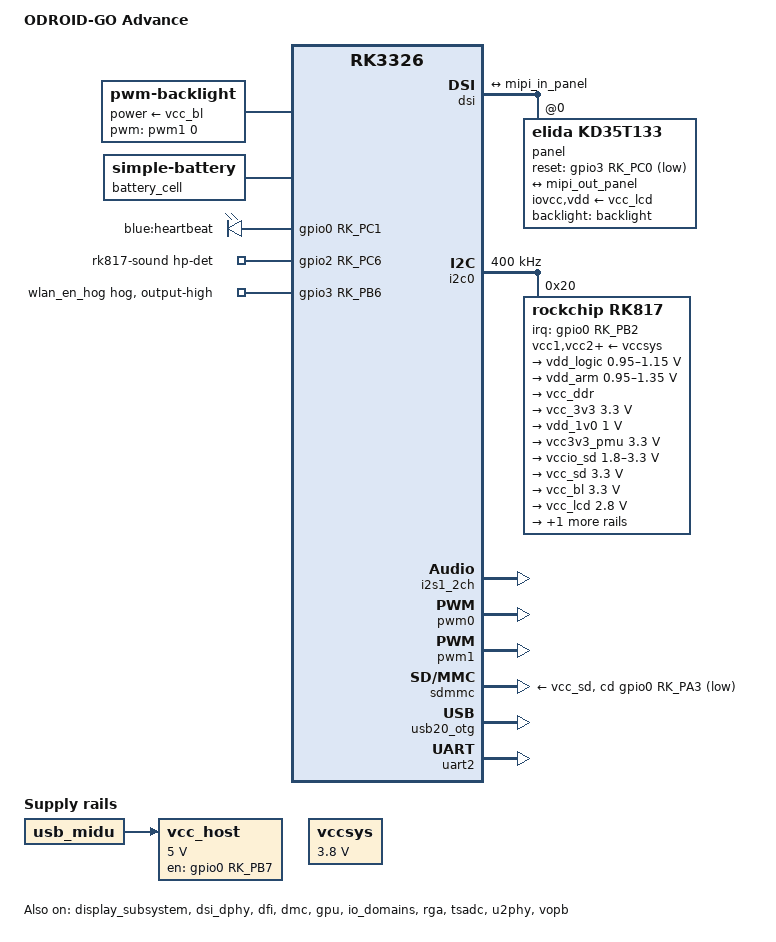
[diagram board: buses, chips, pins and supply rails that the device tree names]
// SPDX-License-Identifier: (GPL-2.0+ OR MIT)
/*
 * Copyright (c) 2019 Hardkernel Co., Ltd
 * Copyright (c) 2020 Theobroma Systems Design und Consulting GmbH
 */

/dts-v1/;
#include <dt-bindings/gpio/gpio.h>
#include <dt-bindings/input/input.h>
#include <dt-bindings/pinctrl/rockchip.h>
#include "rk3326.dtsi"

/ {
	model = "ODROID-GO Advance";
	compatible = "hardkernel,rk3326-odroid-go2", "rockchip,rk3326";

	aliases {
		mmc0 = &sdmmc;
	};

	chosen {
		stdout-path = "serial2:115200n8";
	};

	backlight: backlight {
		compatible = "pwm-backlight";
		power-supply = <&vcc_bl>;
		pwms = <&pwm1 0 25000 0>;
	};

	battery_cell: battery-cell {
		compatible = "simple-battery";
		charge-full-design-microamp-hours = <3380000>;
		charge-term-current-microamp = <150000>;
		constant-charge-current-max-microamp = <2000000>;
		constant-charge-voltage-max-microvolt = <4200000>;
		factory-internal-resistance-micro-ohms = <100000>;
		voltage-max-design-microvolt = <4050000>;
		voltage-min-design-microvolt = <3165000>;

		ocv-capacity-celsius = <20>;
		ocv-capacity-table-0 =	<4050000 100>, <4030000 95>, <3990000 90>, <3950000 85>,
					<3910000 80>, <3870000 75>, <3830000 70>, <3790000 65>,
					<3750000 60>, <3710000 55>, <3670000 50>, <3630000 45>,
					<3580000 40>, <3530000 35>, <3480000 30>, <3430000 25>,
					<3380000 20>, <3330000 15>, <3280000 10>, <3220000 5>,
					<3165000 0>;
	};

	leds: gpio-leds {
		compatible = "gpio-leds";
		pinctrl-names = "default";
		pinctrl-0 = <&blue_led_pin>;

		blue_led: led-0 {
			label = "blue:heartbeat";
			gpios = <&gpio0 RK_PC1 GPIO_ACTIVE_HIGH>;
			linux,default-trigger = "heartbeat";
		};
	};

	rk817-sound {
		compatible = "simple-audio-card";
		simple-audio-card,name = "Analog";
		simple-audio-card,format = "i2s";
		simple-audio-card,hp-det-gpio = <&gpio2 RK_PC6 GPIO_ACTIVE_HIGH>;
		simple-audio-card,mclk-fs = <256>;
		simple-audio-card,widgets =
			"Microphone", "Mic Jack",
			"Headphone", "Headphones",
			"Speaker", "Speaker";
		simple-audio-card,routing =
			"MICL", "Mic Jack",
			"Headphones", "HPOL",
			"Headphones", "HPOR",
			"Speaker", "SPKO";

		simple-audio-card,codec {
			sound-dai = <&rk817>;
		};

		simple-audio-card,cpu {
			sound-dai = <&i2s1_2ch>;
		};
	};

	vccsys: vccsys {
		compatible = "regulator-fixed";
		regulator-name = "vcc3v8_sys";
		regulator-always-on;
		regulator-min-microvolt = <3800000>;
		regulator-max-microvolt = <3800000>;
	};

	vcc_host: vcc_host {
		compatible = "regulator-fixed";
		regulator-name = "vcc_host";
		regulator-min-microvolt = <5000000>;
		regulator-max-microvolt = <5000000>;

		gpio = <&gpio0 RK_PB7 GPIO_ACTIVE_HIGH>;
		enable-active-high;
		regulator-always-on;
		regulator-boot-on;
		vin-supply = <&usb_midu>;
	};
};

&cpu0 {
	cpu-supply = <&vdd_arm>;
};

&cpu1 {
	cpu-supply = <&vdd_arm>;
};

&cpu2 {
	cpu-supply = <&vdd_arm>;
};

&cpu3 {
	cpu-supply = <&vdd_arm>;
};

&cru {
	assigned-clocks = <&cru PLL_NPLL>,
		<&cru ACLK_BUS_PRE>, <&cru ACLK_PERI_PRE>,
		<&cru HCLK_BUS_PRE>, <&cru HCLK_PERI_PRE>,
		<&cru PCLK_BUS_PRE>, <&cru SCLK_GPU>,
		<&cru PLL_CPLL>;

	assigned-clock-rates = <1188000000>,
		<200000000>, <200000000>,
		<150000000>, <150000000>,
		<100000000>, <200000000>,
		<17000000>;
};

&display_subsystem {
	status = "okay";
};

&dsi {
	status = "okay";

	ports {
		mipi_out: port@1 {
			reg = <1>;

			mipi_out_panel: endpoint {
				remote-endpoint = <&mipi_in_panel>;
			};
		};
	};

	panel@0 {
		compatible = "elida,kd35t133";
		reg = <0>;
		backlight = <&backlight>;
		iovcc-supply = <&vcc_lcd>;
		reset-gpios = <&gpio3 RK_PC0 GPIO_ACTIVE_LOW>;
		rotation = <270>;
		vdd-supply = <&vcc_lcd>;

		port {
			mipi_in_panel: endpoint {
				remote-endpoint = <&mipi_out_panel>;
			};
		};
	};
};

&dsi_dphy {
	status = "okay";
};

&dfi {
	status = "okay";
};

&dmc_opp_table {
	/delete-node/ opp-194000000;
	/delete-node/ opp-328000000;
	/delete-node/ opp-450000000;

	opp-786000000 {
		status = "okay";
	};
};

&dmc {
	center-supply = <&vdd_logic>;
	status = "okay";
};

&gpu_opp_table {
	/delete-node/ opp-200000000;
	/delete-node/ opp-300000000;
};

&gpu {
	mali-supply = <&vdd_logic>;
	status = "okay";
};

&i2c0 {
	clock-frequency = <400000>;
	i2c-scl-falling-time-ns = <16>;
	i2c-scl-rising-time-ns = <280>;
	status = "okay";

	rk817: pmic@20 {
		compatible = "rockchip,rk817";
		reg = <0x20>;
		interrupt-parent = <&gpio0>;
		interrupts = <RK_PB2 IRQ_TYPE_LEVEL_LOW>;
		clock-output-names = "rk808-clkout1", "xin32k";
		clock-names = "mclk";
		clocks = <&cru SCLK_I2S1_OUT>;
		pinctrl-names = "default";
		pinctrl-0 = <&pmic_int>, <&i2s1_2ch_mclk>;
		wakeup-source;
		#clock-cells = <1>;
		#sound-dai-cells = <0>;

		vcc1-supply = <&vccsys>;
		vcc2-supply = <&vccsys>;
		vcc3-supply = <&vccsys>;
		vcc4-supply = <&vccsys>;
		vcc5-supply = <&vccsys>;
		vcc6-supply = <&vccsys>;
		vcc7-supply = <&vccsys>;
		vcc8-supply = <&vccsys>;

		regulators {
			vdd_logic: DCDC_REG1 {
				regulator-name = "vdd_logic";
				regulator-min-microvolt = <950000>;
				regulator-max-microvolt = <1150000>;
				regulator-ramp-delay = <6001>;
				regulator-always-on;
				regulator-boot-on;

				regulator-state-mem {
					regulator-on-in-suspend;
					regulator-suspend-microvolt = <950000>;
				};
			};

			vdd_arm: DCDC_REG2 {
				regulator-name = "vdd_arm";
				regulator-min-microvolt = <950000>;
				regulator-max-microvolt = <1350000>;
				regulator-ramp-delay = <6001>;
				regulator-always-on;
				regulator-boot-on;

				regulator-state-mem {
					regulator-off-in-suspend;
					regulator-suspend-microvolt = <950000>;
				};
			};

			vcc_ddr: DCDC_REG3 {
				regulator-name = "vcc_ddr";
				regulator-always-on;
				regulator-boot-on;

				regulator-state-mem {
					regulator-on-in-suspend;
				};
			};

			vcc_3v3: DCDC_REG4 {
				regulator-name = "vcc_3v3";
				regulator-min-microvolt = <3300000>;
				regulator-max-microvolt = <3300000>;
				regulator-always-on;
				regulator-boot-on;

				regulator-state-mem {
					regulator-off-in-suspend;
					regulator-suspend-microvolt = <3300000>;
				};
			};

			vdd_1v0: LDO_REG3 {
				regulator-name = "vdd_1v0";
				regulator-min-microvolt = <1000000>;
				regulator-max-microvolt = <1000000>;
				regulator-always-on;
				regulator-boot-on;

				regulator-state-mem {
					regulator-on-in-suspend;
					regulator-suspend-microvolt = <1000000>;
				};
			};

			vcc3v3_pmu: LDO_REG4 {
				regulator-name = "vcc3v3_pmu";
				regulator-min-microvolt = <3300000>;
				regulator-max-microvolt = <3300000>;
				regulator-always-on;
				regulator-boot-on;

				regulator-state-mem {
					regulator-on-in-suspend;
					regulator-suspend-microvolt = <3300000>;
				};
			};

			vccio_sd: LDO_REG5 {
				regulator-name = "vccio_sd";
				regulator-min-microvolt = <1800000>;
				regulator-max-microvolt = <3300000>;
				regulator-always-on;
				regulator-boot-on;

				regulator-state-mem {
					regulator-on-in-suspend;
					regulator-suspend-microvolt = <3300000>;
				};
			};

			vcc_sd: LDO_REG6 {
				regulator-name = "vcc_sd";
				regulator-min-microvolt = <3300000>;
				regulator-max-microvolt = <3300000>;
				regulator-boot-on;

				regulator-state-mem {
					regulator-on-in-suspend;
					regulator-suspend-microvolt = <3300000>;
				};
			};

			vcc_bl: LDO_REG7 {
				regulator-name = "vcc_bl";
				regulator-min-microvolt = <3300000>;
				regulator-max-microvolt = <3300000>;

				regulator-state-mem {
					regulator-off-in-suspend;
					regulator-suspend-microvolt = <3300000>;
				};
			};

			vcc_lcd: LDO_REG8 {
				regulator-name = "vcc_lcd";
				regulator-min-microvolt = <2800000>;
				regulator-max-microvolt = <2800000>;

				regulator-state-mem {
					regulator-off-in-suspend;
					regulator-suspend-microvolt = <2800000>;
				};
			};

			usb_midu: BOOST {
				regulator-name = "usb_midu";
				regulator-min-microvolt = <5000000>;
				regulator-max-microvolt = <5400000>;
				regulator-always-on;
				regulator-boot-on;
			};
		};

		rk817_battery: battery {
			monitored-battery = <&battery_cell>;
			rockchip,resistor-sense-micro-ohms = <10000>;
			rockchip,sleep-enter-current-microamp = <300000>;
			rockchip,sleep-filter-current-microamp = <100000>;
		};

		rk817_codec: codec {
			rockchip,mic-in-differential;
		};
	};
};

/* I2S 1 Channel Used */
&i2s1_2ch {
	status = "okay";
};

&io_domains {
	vccio1-supply = <&vcc_3v3>;
	vccio2-supply = <&vccio_sd>;
	vccio3-supply = <&vcc_3v3>;
	vccio4-supply = <&vcc_3v3>;
	vccio5-supply = <&vcc_3v3>;
	vccio6-supply = <&vcc_3v3>;
	status = "okay";
};

&pmu_io_domains {
	pmuio1-supply = <&vcc3v3_pmu>;
	pmuio2-supply = <&vcc3v3_pmu>;
	status = "okay";
};

&pwm0 {
	status = "okay";
};

&pwm1 {
	status = "okay";
};

&rga {
	status = "okay";
};

&sdmmc {
	cap-sd-highspeed;
	card-detect-delay = <200>;
	cd-gpios = <&gpio0 RK_PA3 GPIO_ACTIVE_LOW>; /*[> CD GPIO <]*/
	sd-uhs-sdr12;
	sd-uhs-sdr25;
	sd-uhs-sdr50;
	sd-uhs-sdr104;
	vmmc-supply = <&vcc_sd>;
	vqmmc-supply = <&vccio_sd>;
	status = "okay";
};

&tsadc {
	status = "okay";
};

&u2phy {
	status = "okay";

	u2phy_host: host-port {
		status = "okay";
	};

	u2phy_otg: otg-port {
		status = "disabled";
	};
};

&usb20_otg {
	status = "okay";
};

&uart2 {
	pinctrl-names = "default";
	pinctrl-0 = <&uart2m1_xfer>;
	status = "okay";
};

&vopb {
	status = "okay";
};

&vopb_mmu {
	status = "okay";
};

&pinctrl {
	leds {
		blue_led_pin: blue-led-pin {
			rockchip,pins = <0 RK_PC1 RK_FUNC_GPIO &pcfg_pull_none>;
		};
	};

	pmic {
		pmic_int: pmic-int {
			rockchip,pins = <0 RK_PB2 RK_FUNC_GPIO &pcfg_pull_up>;
		};
	};
};

&gpio3 {
	wlan_en_hog {
		gpio-hog;
		gpios = <RK_PB6 GPIO_ACTIVE_HIGH>;
		output-high;
	};
};
